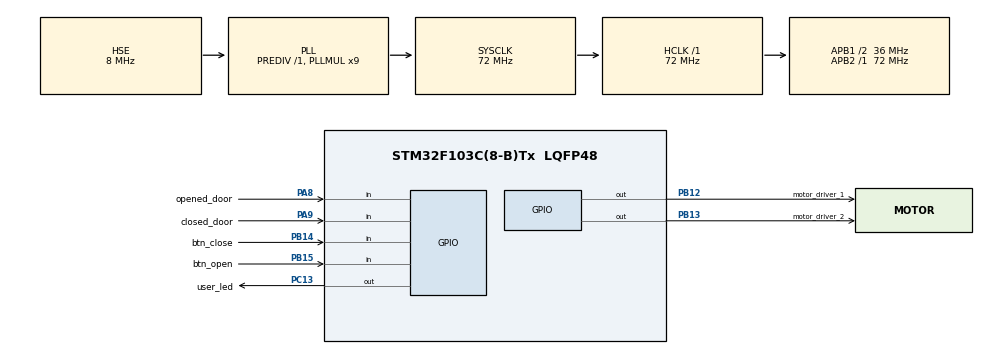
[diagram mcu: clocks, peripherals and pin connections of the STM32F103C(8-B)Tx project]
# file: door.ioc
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Mcu.Family=STM32F1
Mcu.Name=STM32F103C(8-B)Tx
Mcu.Package=LQFP48
NVIC.PriorityGroup=NVIC_PRIORITYGROUP_4
NVIC.TIM2_IRQn=true\:0\:0\:false\:false\:true\:true\:true\:true
PA13.Mode=Serial_Wire
PA13.Signal=SYS_JTMS-SWDIO
PA14.Mode=Serial_Wire
PA14.Signal=SYS_JTCK-SWCLK
PA8.GPIO_Label=opened_door
PA8.GPIO_PuPd=GPIO_PULLDOWN
PA8.Signal=GPIO_Input
PA9.GPIO_Label=closed_door
PA9.GPIO_PuPd=GPIO_PULLDOWN
PA9.Signal=GPIO_Input
PB12.GPIO_Label=motor_driver_1
PB12.Signal=GPIO_Output
PB13.GPIO_Label=motor_driver_2
PB13.Signal=GPIO_Output
PB14.GPIO_Label=btn_close
PB14.GPIO_PuPd=GPIO_PULLDOWN
PB14.Signal=GPIO_Input
PB15.GPIO_Label=btn_open
PB15.GPIO_PuPd=GPIO_PULLDOWN
PB15.Signal=GPIO_Input
PC13-TAMPER-RTC.GPIO_Label=user_led
PC13-TAMPER-RTC.Signal=GPIO_Output
PD0-OSC_IN.Mode=HSE-External-Oscillator
PD0-OSC_IN.Signal=RCC_OSC_IN
PD1-OSC_OUT.Mode=HSE-External-Oscillator
PD1-OSC_OUT.Signal=RCC_OSC_OUT
ProjectManager.HeapSize=0x200
ProjectManager.StackSize=0x400
ProjectManager.TargetToolchain=STM32CubeIDE
RCC.AHBFreq_Value=72000000
RCC.APB1CLKDivider=RCC_HCLK_DIV2
RCC.APB1Freq_Value=36000000
RCC.APB1TimFreq_Value=72000000
RCC.APB2Freq_Value=72000000
RCC.APB2TimFreq_Value=72000000
RCC.HCLKFreq_Value=72000000
RCC.PLLMUL=RCC_PLL_MUL9
RCC.PLLSourceVirtual=RCC_PLLSOURCE_HSE
RCC.SYSCLKFreq_VALUE=72000000
RCC.SYSCLKSource=RCC_SYSCLKSOURCE_PLLCLK
RCC.USBFreq_Value=72000000
TIM2.AutoReloadPreload=TIM_AUTORELOAD_PRELOAD_ENABLE
TIM2.Period=100-1
TIM2.Prescaler=7200-1
VP_TIM2_VS_ClockSourceINT.Mode=Internal
board=custom

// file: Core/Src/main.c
/* USER CODE BEGIN Header */
/**
  ******************************************************************************
  * @file           : main.c
  * @brief          : Main program body
  ******************************************************************************
  * @attention
  *
  * Copyright (c) 2022 STMicroelectronics.
  * All rights reserved.
  *
  * This software is licensed under terms that can be found in the LICENSE file
  * in the root directory of this software component.
  * If no LICENSE file comes with this software, it is provided AS-IS.
  *
  ******************************************************************************
  */
/* USER CODE END Header */
#include "main.h"

TIM_HandleTypeDef htim2;

/* USER CODE BEGIN PV */
// volatile is to tell the compiler do not optimized this code, do not delete it
volatile char flag = 0, btn_open_pressed = 0, btn_close_pressed = 0;
volatile char opened_door_pressed = 0, closed_door_pressed = 0;
/* USER CODE END PV */

void SystemClock_Config(void);
static void MX_GPIO_Init(void);
static void MX_TIM2_Init(void);
/* USER CODE BEGIN PFP */
void doorTask();
void closeDoor();
void openDoor();
void stopDoor();
void listenClick();
void turnOnUserLed();
void turnOffUserLed();
void checkButton();
/* USER CODE END PFP */

int main(void)
{

  /* MCU Configuration--------------------------------------------------------*/

  /* Reset of all peripherals, Initializes the Flash interface and the Systick. */
  HAL_Init();

  /* Configure the system clock */
  SystemClock_Config();

  /* Initialize all configured peripherals */
  MX_GPIO_Init();
  MX_TIM2_Init();
  /* USER CODE BEGIN 2 */
  HAL_TIM_Base_Start_IT(&htim2);
  /* USER CODE END 2 */

  /* Infinite loop */
  /* USER CODE BEGIN WHILE */
  turnOffUserLed();

  while (1) {

	  doorTask();
	  listenClick();
	  checkButton();

	  //btn_open_pressed = listenClick(btn_open_GPIO_Port, btn_open_Pin);

	  //while(0==flag);
	  //flag=0;
    /* USER CODE END WHILE */

  }
}

void SystemClock_Config(void)
{
  RCC_OscInitTypeDef RCC_OscInitStruct = {0};
  RCC_ClkInitTypeDef RCC_ClkInitStruct = {0};

  /** Initializes the RCC Oscillators according to the specified parameters
  * in the RCC_OscInitTypeDef structure.
  */
  RCC_OscInitStruct.OscillatorType = RCC_OSCILLATORTYPE_HSE;
  RCC_OscInitStruct.HSEState = RCC_HSE_ON;
  RCC_OscInitStruct.HSEPredivValue = RCC_HSE_PREDIV_DIV1;
  RCC_OscInitStruct.HSIState = RCC_HSI_ON;
  RCC_OscInitStruct.PLL.PLLState = RCC_PLL_ON;
  RCC_OscInitStruct.PLL.PLLSource = RCC_PLLSOURCE_HSE;
  RCC_OscInitStruct.PLL.PLLMUL = RCC_PLL_MUL9;
  if (HAL_RCC_OscConfig(&RCC_OscInitStruct) != HAL_OK)
  {
    Error_Handler();
  }

  /** Initializes the CPU, AHB and APB buses clocks
  */
  RCC_ClkInitStruct.ClockType = RCC_CLOCKTYPE_HCLK|RCC_CLOCKTYPE_SYSCLK
                              |RCC_CLOCKTYPE_PCLK1|RCC_CLOCKTYPE_PCLK2;
  RCC_ClkInitStruct.SYSCLKSource = RCC_SYSCLKSOURCE_PLLCLK;
  RCC_ClkInitStruct.AHBCLKDivider = RCC_SYSCLK_DIV1;
  RCC_ClkInitStruct.APB1CLKDivider = RCC_HCLK_DIV2;
  RCC_ClkInitStruct.APB2CLKDivider = RCC_HCLK_DIV1;

  if (HAL_RCC_ClockConfig(&RCC_ClkInitStruct, FLASH_LATENCY_2) != HAL_OK)
  {
    Error_Handler();
  }
}

static void MX_TIM2_Init(void)
{

  TIM_ClockConfigTypeDef sClockSourceConfig = {0};
  TIM_MasterConfigTypeDef sMasterConfig = {0};

  htim2.Instance = TIM2;
  htim2.Init.Prescaler = 7200-1;
  htim2.Init.CounterMode = TIM_COUNTERMODE_UP;
  htim2.Init.Period = 100-1;
  htim2.Init.ClockDivision = TIM_CLOCKDIVISION_DIV1;
  htim2.Init.AutoReloadPreload = TIM_AUTORELOAD_PRELOAD_ENABLE;
  if (HAL_TIM_Base_Init(&htim2) != HAL_OK)
  {
    Error_Handler();
  }
  sClockSourceConfig.ClockSource = TIM_CLOCKSOURCE_INTERNAL;
  if (HAL_TIM_ConfigClockSource(&htim2, &sClockSourceConfig) != HAL_OK)
  {
    Error_Handler();
  }
  sMasterConfig.MasterOutputTrigger = TIM_TRGO_RESET;
  sMasterConfig.MasterSlaveMode = TIM_MASTERSLAVEMODE_DISABLE;
  if (HAL_TIMEx_MasterConfigSynchronization(&htim2, &sMasterConfig) != HAL_OK)
  {
    Error_Handler();
  }

}

static void MX_GPIO_Init(void)
{
  GPIO_InitTypeDef GPIO_InitStruct = {0};

  /* GPIO Ports Clock Enable */
  __HAL_RCC_GPIOC_CLK_ENABLE();
  __HAL_RCC_GPIOD_CLK_ENABLE();
  __HAL_RCC_GPIOB_CLK_ENABLE();
  __HAL_RCC_GPIOA_CLK_ENABLE();

  /*Configure GPIO pin Output Level */
  HAL_GPIO_WritePin(user_led_GPIO_Port, user_led_Pin, GPIO_PIN_RESET);

  /*Configure GPIO pin Output Level */
  HAL_GPIO_WritePin(GPIOB, motor_driver_1_Pin|motor_driver_2_Pin, GPIO_PIN_RESET);

  /*Configure GPIO pin : user_led_Pin */
  GPIO_InitStruct.Pin = user_led_Pin;
  GPIO_InitStruct.Mode = GPIO_MODE_OUTPUT_PP;
  GPIO_InitStruct.Pull = GPIO_NOPULL;
  GPIO_InitStruct.Speed = GPIO_SPEED_FREQ_LOW;
  HAL_GPIO_Init(user_led_GPIO_Port, &GPIO_InitStruct);

  /*Configure GPIO pins : motor_driver_1_Pin motor_driver_2_Pin */
  GPIO_InitStruct.Pin = motor_driver_1_Pin|motor_driver_2_Pin;
  GPIO_InitStruct.Mode = GPIO_MODE_OUTPUT_PP;
  GPIO_InitStruct.Pull = GPIO_NOPULL;
  GPIO_InitStruct.Speed = GPIO_SPEED_FREQ_LOW;
  HAL_GPIO_Init(GPIOB, &GPIO_InitStruct);

  /*Configure GPIO pins : btn_close_Pin btn_open_Pin */
  GPIO_InitStruct.Pin = btn_close_Pin|btn_open_Pin;
  GPIO_InitStruct.Mode = GPIO_MODE_INPUT;
  GPIO_InitStruct.Pull = GPIO_PULLDOWN;
  HAL_GPIO_Init(GPIOB, &GPIO_InitStruct);

  /*Configure GPIO pins : opened_door_Pin closed_door_Pin */
  GPIO_InitStruct.Pin = opened_door_Pin|closed_door_Pin;
  GPIO_InitStruct.Mode = GPIO_MODE_INPUT;
  GPIO_InitStruct.Pull = GPIO_PULLDOWN;
  HAL_GPIO_Init(GPIOA, &GPIO_InitStruct);

}

/* USER CODE BEGIN 4 */
void doorTask() {
	static int32_t tenMilis = 0;
	static char stage = 0;

	switch(stage) {
		// Door closed
		case 0:
			stopDoor();

			if (btn_open_pressed == 1) {
				stage = 1;
			}
			break;
		// Opening door
		case 1:
			openDoor();

			if (opened_door_pressed == 1) {
				stage = 2;
			}
			break;
		// Door opened
		case 2:
			stopDoor();

			if (btn_close_pressed == 1) {
				stage = 3;
			}
			break;
		// Closing door
		case 3:
			closeDoor();

			if (closed_door_pressed == 1) {
				stage = 0;
			}
			break;
		}
		tenMilis++;
}

void openDoor() {
	HAL_GPIO_WritePin(motor_driver_1_GPIO_Port, motor_driver_1_Pin, 1);
	HAL_GPIO_WritePin(motor_driver_2_GPIO_Port, motor_driver_2_Pin, 0);
}

void closeDoor() {
	HAL_GPIO_WritePin(motor_driver_1_GPIO_Port, motor_driver_1_Pin, 0);
	HAL_GPIO_WritePin(motor_driver_2_GPIO_Port, motor_driver_2_Pin, 1);
}

void stopDoor() {
	HAL_GPIO_WritePin(motor_driver_1_GPIO_Port, motor_driver_1_Pin, 0);
	HAL_GPIO_WritePin(motor_driver_2_GPIO_Port, motor_driver_2_Pin, 0);
}

void listenClick() {
	static char zeros_closed_door = 0, ones_closed_door = 0;
	static char zeros_opened_door = 0, ones_opened_door = 0;
	static char zeros_btn_open = 0, ones_btn_open = 0;
	static char zeros_btn_close = 0, ones_btn_close = 0;

	// Debouncing filter for closed_door
	if (HAL_GPIO_ReadPin(closed_door_GPIO_Port, closed_door_Pin) == 1) {
		zeros_closed_door = 0;
		ones_closed_door++;
	} else {
		zeros_closed_door++;
		ones_closed_door = 0;
	}

	// button pressed just when there are at least 30 ms
	if (ones_closed_door == 3) {
		closed_door_pressed = 1;
	} else if(zeros_closed_door == 3) {
		closed_door_pressed = 0;
	}

	// Debouncing filter for opened_door
	if (HAL_GPIO_ReadPin(opened_door_GPIO_Port, opened_door_Pin) == 1) {
		zeros_opened_door = 0;
		ones_opened_door++;
	} else {
		zeros_opened_door++;
		ones_opened_door = 0;
	}

	if (ones_opened_door == 3) {
		opened_door_pressed = 1;
	} else if(zeros_opened_door == 3) {
		opened_door_pressed = 0;
	}

	// Debouncing filter for btn_close
	if (HAL_GPIO_ReadPin(btn_close_GPIO_Port, btn_close_Pin) == 1) {
		zeros_btn_close = 0;
		ones_btn_close++;
	} else {
		zeros_btn_close++;
		ones_btn_close = 0;
	}

	if (ones_btn_close == 3) {
		btn_close_pressed = 1;
	} else if(zeros_btn_close == 3) {
		btn_close_pressed = 0;
	}

	// Debouncing filter for btn_open
	if (HAL_GPIO_ReadPin(btn_open_GPIO_Port, btn_open_Pin) == 1) {
		zeros_btn_open = 0;
		ones_btn_open++;
	} else {
		zeros_btn_open++;
		ones_btn_open = 0;
	}

	if (ones_btn_open == 3) {
		btn_open_pressed = 1;
	} else if(zeros_btn_open == 3) {
		btn_open_pressed = 0;
	}

}

void turnOnUserLed() {
	HAL_GPIO_WritePin(user_led_GPIO_Port, user_led_Pin, 0);
}

void turnOffUserLed() {
	HAL_GPIO_WritePin(user_led_GPIO_Port, user_led_Pin, 1);
}

/*
 * checkButton() just turn led user on when any button is pressed
 */
void checkButton() {
	if(btn_open_pressed == 1 || btn_close_pressed == 1 || opened_door_pressed == 1
		  || closed_door_pressed == 1) {
	  turnOnUserLed();
  } else {
	  turnOffUserLed();
  }
}
/* USER CODE END 4 */

void Error_Handler(void)
{
  __disable_irq();
  while (1)
  {
  }
}
